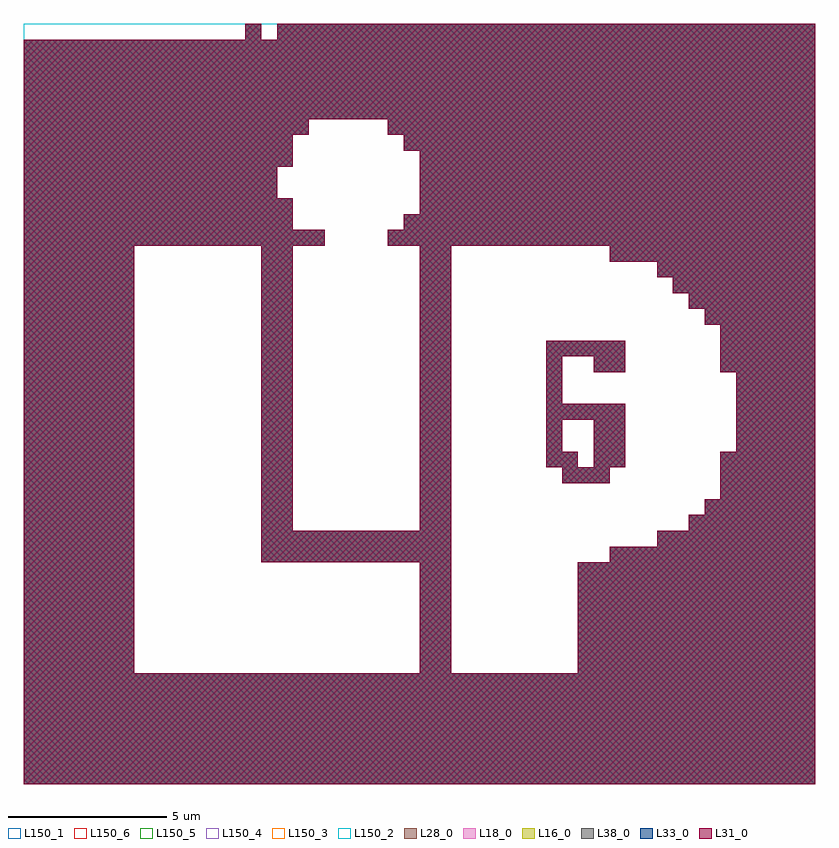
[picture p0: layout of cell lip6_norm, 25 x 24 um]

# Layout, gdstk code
import gdstk
lib = gdstk.Library(unit=1e-6, precision=1e-09)
def R(c, l, rs):  # rectangles x0, y0, x1, y1
    for r in rs: c.add(gdstk.rectangle(r[:2], r[2:], *l))
def A(c, l, x, y, w, h, nx, ny, dx, dy):  # array of equal rectangles
    R(c, l, [(x+i*dx, y+j*dy, x+i*dx+w, y+j*dy+h) for i in range(nx) for j in range(ny)])
L16_0 = (16, 0)
L18_0 = (18, 0)
L28_0 = (28, 0)
L31_0 = (31, 0)
L33_0 = (33, 0)
L38_0 = (38, 0)
L150_1 = (150, 1)
L150_2 = (150, 2)
L150_3 = (150, 3)
L150_4 = (150, 4)
L150_5 = (150, 5)
L150_6 = (150, 6)

lip6_norm = lib.new_cell('lip6_norm')
A(lip6_norm, L16_0, -12.5, -12, 25, 0.5, 1, 7, 0, 0.5)
A(lip6_norm, L16_0, -12.5, -8.5, 3.5, 0.5, 1, 27, 0, 0.5)
A(lip6_norm, L16_0, 0, -8.5, 1, 0.5, 1, 7, 0, 0.5)
A(lip6_norm, L16_0, 5, -8.5, 7.5, 0.5, 1, 7, 0, 0.5)
A(lip6_norm, L16_0, -5, -4, 1, 0.5, 1, 18, 0, 0.5)
A(lip6_norm, L16_0, 0, -4, 1, 0.5, 1, 18, 0, 0.5)
A(lip6_norm, L16_0, 9.5, -3, 3, 0.5, 1, 3, 0, 0.5)
A(lip6_norm, L16_0, 5.5, -2, 1, 0.5, 1, 3, 0, 0.5)
A(lip6_norm, L16_0, 10, -1.5, 2.5, 0.5, 1, 5, 0, 0.5)
A(lip6_norm, L16_0, 4, 0, 0.5, 0.5, 1, 3, 0, 0.5)
A(lip6_norm, L16_0, 9.5, 1, 3, 0.5, 1, 3, 0, 0.5)
A(lip6_norm, L16_0, 0, 6, 12.5, 0.5, 1, 4, 0, 0.5)
A(lip6_norm, L16_0, -12.5, 9, 25, 0.5, 1, 5, 0, 0.5)
R(lip6_norm, L16_0, [(-5,-5,1,-4.5), (6,-5,12.5,-4.5), (-5,-4.5,1,-4), (7.5,-4.5,12.5,-4), (8.5,-4,12.5,-3.5), (9,-3.5,12.5,-3), (4.5,-2.5,6,-2), (4,-2,5,-1.5), (4,-1.5,4.5,-1), (4,-1,4.5,-0.5), (4,-0.5,6.5,0), (5.5,1,6.5,1.5), (4,1.5,6.5,2), (9,2.5,12.5,3), (8.5,3,12.5,3.5), (8,3.5,12.5,4), (7.5,4,12.5,4.5), (6,4.5,12.5,5), (-12.5,5,-3,5.5), (-1,5,12.5,5.5), (-12.5,5.5,-4,6), (-0.5,5.5,12.5,6), (-12.5,6,-4,6.5), (-12.5,6.5,-4.5,7), (-12.5,7,-4.5,7.5), (-12.5,7.5,-4,8), (-12.5,8,-4,8.5), (-0.5,8,12.5,8.5), (-12.5,8.5,-3.5,9), (-1,8.5,12.5,9), (-5.5,11.5,-5,12), (-4.5,11.5,12.5,12)])
A(lip6_norm, L18_0, -12.5, -12, 25, 0.5, 1, 7, 0, 0.5)
A(lip6_norm, L18_0, -12.5, -8.5, 3.5, 0.5, 1, 27, 0, 0.5)
A(lip6_norm, L18_0, 0, -8.5, 1, 0.5, 1, 7, 0, 0.5)
A(lip6_norm, L18_0, 5, -8.5, 7.5, 0.5, 1, 7, 0, 0.5)
A(lip6_norm, L18_0, -5, -4, 1, 0.5, 1, 18, 0, 0.5)
A(lip6_norm, L18_0, 0, -4, 1, 0.5, 1, 18, 0, 0.5)
A(lip6_norm, L18_0, 9.5, -3, 3, 0.5, 1, 3, 0, 0.5)
A(lip6_norm, L18_0, 5.5, -2, 1, 0.5, 1, 3, 0, 0.5)
A(lip6_norm, L18_0, 10, -1.5, 2.5, 0.5, 1, 5, 0, 0.5)
A(lip6_norm, L18_0, 4, 0, 0.5, 0.5, 1, 3, 0, 0.5)
A(lip6_norm, L18_0, 9.5, 1, 3, 0.5, 1, 3, 0, 0.5)
A(lip6_norm, L18_0, 0, 6, 12.5, 0.5, 1, 4, 0, 0.5)
A(lip6_norm, L18_0, -12.5, 9, 25, 0.5, 1, 5, 0, 0.5)
R(lip6_norm, L18_0, [(-5,-5,1,-4.5), (6,-5,12.5,-4.5), (-5,-4.5,1,-4), (7.5,-4.5,12.5,-4), (8.5,-4,12.5,-3.5), (9,-3.5,12.5,-3), (4.5,-2.5,6,-2), (4,-2,5,-1.5), (4,-1.5,4.5,-1), (4,-1,4.5,-0.5), (4,-0.5,6.5,0), (5.5,1,6.5,1.5), (4,1.5,6.5,2), (9,2.5,12.5,3), (8.5,3,12.5,3.5), (8,3.5,12.5,4), (7.5,4,12.5,4.5), (6,4.5,12.5,5), (-12.5,5,-3,5.5), (-1,5,12.5,5.5), (-12.5,5.5,-4,6), (-0.5,5.5,12.5,6), (-12.5,6,-4,6.5), (-12.5,6.5,-4.5,7), (-12.5,7,-4.5,7.5), (-12.5,7.5,-4,8), (-12.5,8,-4,8.5), (-0.5,8,12.5,8.5), (-12.5,8.5,-3.5,9), (-1,8.5,12.5,9), (-5.5,11.5,-5,12), (-4.5,11.5,12.5,12)])
A(lip6_norm, L28_0, -12.5, -12, 25, 0.5, 1, 7, 0, 0.5)
A(lip6_norm, L28_0, -12.5, -8.5, 3.5, 0.5, 1, 27, 0, 0.5)
A(lip6_norm, L28_0, 0, -8.5, 1, 0.5, 1, 7, 0, 0.5)
A(lip6_norm, L28_0, 5, -8.5, 7.5, 0.5, 1, 7, 0, 0.5)
A(lip6_norm, L28_0, -5, -4, 1, 0.5, 1, 18, 0, 0.5)
A(lip6_norm, L28_0, 0, -4, 1, 0.5, 1, 18, 0, 0.5)
A(lip6_norm, L28_0, 9.5, -3, 3, 0.5, 1, 3, 0, 0.5)
A(lip6_norm, L28_0, 5.5, -2, 1, 0.5, 1, 3, 0, 0.5)
A(lip6_norm, L28_0, 10, -1.5, 2.5, 0.5, 1, 5, 0, 0.5)
A(lip6_norm, L28_0, 4, 0, 0.5, 0.5, 1, 3, 0, 0.5)
A(lip6_norm, L28_0, 9.5, 1, 3, 0.5, 1, 3, 0, 0.5)
A(lip6_norm, L28_0, 0, 6, 12.5, 0.5, 1, 4, 0, 0.5)
A(lip6_norm, L28_0, -12.5, 9, 25, 0.5, 1, 5, 0, 0.5)
R(lip6_norm, L28_0, [(-5,-5,1,-4.5), (6,-5,12.5,-4.5), (-5,-4.5,1,-4), (7.5,-4.5,12.5,-4), (8.5,-4,12.5,-3.5), (9,-3.5,12.5,-3), (4.5,-2.5,6,-2), (4,-2,5,-1.5), (4,-1.5,4.5,-1), (4,-1,4.5,-0.5), (4,-0.5,6.5,0), (5.5,1,6.5,1.5), (4,1.5,6.5,2), (9,2.5,12.5,3), (8.5,3,12.5,3.5), (8,3.5,12.5,4), (7.5,4,12.5,4.5), (6,4.5,12.5,5), (-12.5,5,-3,5.5), (-1,5,12.5,5.5), (-12.5,5.5,-4,6), (-0.5,5.5,12.5,6), (-12.5,6,-4,6.5), (-12.5,6.5,-4.5,7), (-12.5,7,-4.5,7.5), (-12.5,7.5,-4,8), (-12.5,8,-4,8.5), (-0.5,8,12.5,8.5), (-12.5,8.5,-3.5,9), (-1,8.5,12.5,9), (-5.5,11.5,-5,12), (-4.5,11.5,12.5,12)])
A(lip6_norm, L31_0, -12.5, -12, 25, 0.5, 1, 7, 0, 0.5)
A(lip6_norm, L31_0, -12.5, -8.5, 3.5, 0.5, 1, 27, 0, 0.5)
A(lip6_norm, L31_0, 0, -8.5, 1, 0.5, 1, 7, 0, 0.5)
A(lip6_norm, L31_0, 5, -8.5, 7.5, 0.5, 1, 7, 0, 0.5)
A(lip6_norm, L31_0, -5, -4, 1, 0.5, 1, 18, 0, 0.5)
A(lip6_norm, L31_0, 0, -4, 1, 0.5, 1, 18, 0, 0.5)
A(lip6_norm, L31_0, 9.5, -3, 3, 0.5, 1, 3, 0, 0.5)
A(lip6_norm, L31_0, 5.5, -2, 1, 0.5, 1, 3, 0, 0.5)
A(lip6_norm, L31_0, 10, -1.5, 2.5, 0.5, 1, 5, 0, 0.5)
A(lip6_norm, L31_0, 4, 0, 0.5, 0.5, 1, 3, 0, 0.5)
A(lip6_norm, L31_0, 9.5, 1, 3, 0.5, 1, 3, 0, 0.5)
A(lip6_norm, L31_0, 0, 6, 12.5, 0.5, 1, 4, 0, 0.5)
A(lip6_norm, L31_0, -12.5, 9, 25, 0.5, 1, 5, 0, 0.5)
R(lip6_norm, L31_0, [(-5,-5,1,-4.5), (6,-5,12.5,-4.5), (-5,-4.5,1,-4), (7.5,-4.5,12.5,-4), (8.5,-4,12.5,-3.5), (9,-3.5,12.5,-3), (4.5,-2.5,6,-2), (4,-2,5,-1.5), (4,-1.5,4.5,-1), (4,-1,4.5,-0.5), (4,-0.5,6.5,0), (5.5,1,6.5,1.5), (4,1.5,6.5,2), (9,2.5,12.5,3), (8.5,3,12.5,3.5), (8,3.5,12.5,4), (7.5,4,12.5,4.5), (6,4.5,12.5,5), (-12.5,5,-3,5.5), (-1,5,12.5,5.5), (-12.5,5.5,-4,6), (-0.5,5.5,12.5,6), (-12.5,6,-4,6.5), (-12.5,6.5,-4.5,7), (-12.5,7,-4.5,7.5), (-12.5,7.5,-4,8), (-12.5,8,-4,8.5), (-0.5,8,12.5,8.5), (-12.5,8.5,-3.5,9), (-1,8.5,12.5,9), (-5.5,11.5,-5,12), (-4.5,11.5,12.5,12)])
A(lip6_norm, L33_0, -12.5, -12, 25, 0.5, 1, 7, 0, 0.5)
A(lip6_norm, L33_0, -12.5, -8.5, 3.5, 0.5, 1, 27, 0, 0.5)
A(lip6_norm, L33_0, 0, -8.5, 1, 0.5, 1, 7, 0, 0.5)
A(lip6_norm, L33_0, 5, -8.5, 7.5, 0.5, 1, 7, 0, 0.5)
A(lip6_norm, L33_0, -5, -4, 1, 0.5, 1, 18, 0, 0.5)
A(lip6_norm, L33_0, 0, -4, 1, 0.5, 1, 18, 0, 0.5)
A(lip6_norm, L33_0, 9.5, -3, 3, 0.5, 1, 3, 0, 0.5)
A(lip6_norm, L33_0, 5.5, -2, 1, 0.5, 1, 3, 0, 0.5)
A(lip6_norm, L33_0, 10, -1.5, 2.5, 0.5, 1, 5, 0, 0.5)
A(lip6_norm, L33_0, 4, 0, 0.5, 0.5, 1, 3, 0, 0.5)
A(lip6_norm, L33_0, 9.5, 1, 3, 0.5, 1, 3, 0, 0.5)
A(lip6_norm, L33_0, 0, 6, 12.5, 0.5, 1, 4, 0, 0.5)
A(lip6_norm, L33_0, -12.5, 9, 25, 0.5, 1, 5, 0, 0.5)
R(lip6_norm, L33_0, [(-5,-5,1,-4.5), (6,-5,12.5,-4.5), (-5,-4.5,1,-4), (7.5,-4.5,12.5,-4), (8.5,-4,12.5,-3.5), (9,-3.5,12.5,-3), (4.5,-2.5,6,-2), (4,-2,5,-1.5), (4,-1.5,4.5,-1), (4,-1,4.5,-0.5), (4,-0.5,6.5,0), (5.5,1,6.5,1.5), (4,1.5,6.5,2), (9,2.5,12.5,3), (8.5,3,12.5,3.5), (8,3.5,12.5,4), (7.5,4,12.5,4.5), (6,4.5,12.5,5), (-12.5,5,-3,5.5), (-1,5,12.5,5.5), (-12.5,5.5,-4,6), (-0.5,5.5,12.5,6), (-12.5,6,-4,6.5), (-12.5,6.5,-4.5,7), (-12.5,7,-4.5,7.5), (-12.5,7.5,-4,8), (-12.5,8,-4,8.5), (-0.5,8,12.5,8.5), (-12.5,8.5,-3.5,9), (-1,8.5,12.5,9), (-5.5,11.5,-5,12), (-4.5,11.5,12.5,12)])
A(lip6_norm, L38_0, -12.5, -12, 25, 0.5, 1, 7, 0, 0.5)
A(lip6_norm, L38_0, -12.5, -8.5, 3.5, 0.5, 1, 27, 0, 0.5)
A(lip6_norm, L38_0, 0, -8.5, 1, 0.5, 1, 7, 0, 0.5)
A(lip6_norm, L38_0, 5, -8.5, 7.5, 0.5, 1, 7, 0, 0.5)
A(lip6_norm, L38_0, -5, -4, 1, 0.5, 1, 18, 0, 0.5)
A(lip6_norm, L38_0, 0, -4, 1, 0.5, 1, 18, 0, 0.5)
A(lip6_norm, L38_0, 9.5, -3, 3, 0.5, 1, 3, 0, 0.5)
A(lip6_norm, L38_0, 5.5, -2, 1, 0.5, 1, 3, 0, 0.5)
A(lip6_norm, L38_0, 10, -1.5, 2.5, 0.5, 1, 5, 0, 0.5)
A(lip6_norm, L38_0, 4, 0, 0.5, 0.5, 1, 3, 0, 0.5)
A(lip6_norm, L38_0, 9.5, 1, 3, 0.5, 1, 3, 0, 0.5)
A(lip6_norm, L38_0, 0, 6, 12.5, 0.5, 1, 4, 0, 0.5)
A(lip6_norm, L38_0, -12.5, 9, 25, 0.5, 1, 5, 0, 0.5)
R(lip6_norm, L38_0, [(-5,-5,1,-4.5), (6,-5,12.5,-4.5), (-5,-4.5,1,-4), (7.5,-4.5,12.5,-4), (8.5,-4,12.5,-3.5), (9,-3.5,12.5,-3), (4.5,-2.5,6,-2), (4,-2,5,-1.5), (4,-1.5,4.5,-1), (4,-1,4.5,-0.5), (4,-0.5,6.5,0), (5.5,1,6.5,1.5), (4,1.5,6.5,2), (9,2.5,12.5,3), (8.5,3,12.5,3.5), (8,3.5,12.5,4), (7.5,4,12.5,4.5), (6,4.5,12.5,5), (-12.5,5,-3,5.5), (-1,5,12.5,5.5), (-12.5,5.5,-4,6), (-0.5,5.5,12.5,6), (-12.5,6,-4,6.5), (-12.5,6.5,-4.5,7), (-12.5,7,-4.5,7.5), (-12.5,7.5,-4,8), (-12.5,8,-4,8.5), (-0.5,8,12.5,8.5), (-12.5,8.5,-3.5,9), (-1,8.5,12.5,9), (-5.5,11.5,-5,12), (-4.5,11.5,12.5,12)])
R(lip6_norm, L150_1, [(-12.5,-12,12.5,12)])
R(lip6_norm, L150_2, [(-12.5,-12,12.5,12)])
R(lip6_norm, L150_3, [(-12.5,-12,12.5,12)])
R(lip6_norm, L150_4, [(-12.5,-12,12.5,12)])
R(lip6_norm, L150_5, [(-12.5,-12,12.5,12)])
R(lip6_norm, L150_6, [(-12.5,-12,12.5,12)])

lib.write_gds('lip6_norm.gds')
